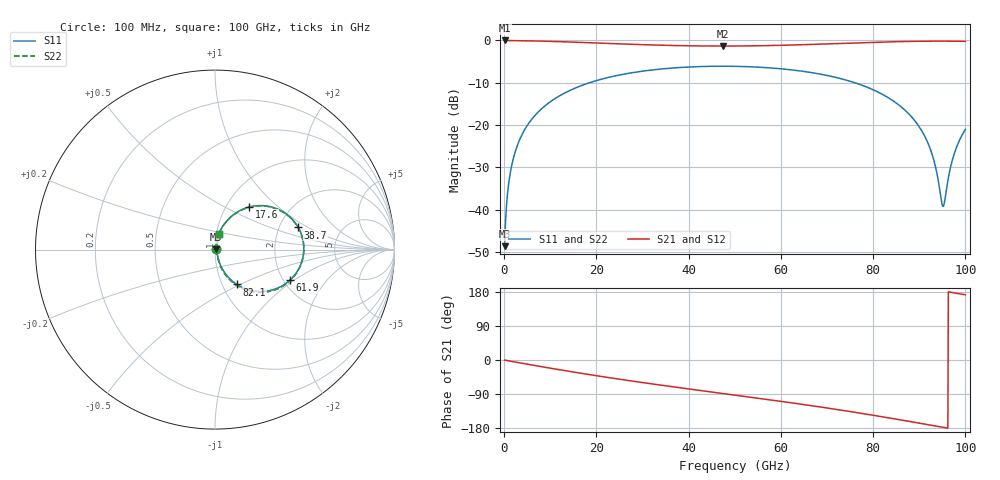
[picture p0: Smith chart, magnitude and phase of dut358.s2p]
! Touchstone file exported from HFSS 2026.1.0
!  File:  C:/ffzhzh/LocalFiles/Ansys_Project_Files/temp_train_RDL_358_1783503356_31944.aedt
!  Generated:  05:37:36 PM Jul  8, 2026
!  Design:  RDL
!  Project:  temp_train_RDL_358_1783503356_31944
! Variables:
!  h_bsmrdl = 2um
!  h_ox = 20um
!  h_rdl = 5um
!  h_sub = 80um
!  h_tmrdl = 3.68um
!  h_tsv = 80um
!  h_via = 3um
!  l_bsmrdl = 300um
!  l_sub = 1032.15um
!  l_tmrdl = 632.15um
!  m_sub = 200um
!  pitch = 43.02um
!  r_tsv = 6um
!  s_tmrdl = 10um
!  w_bsmrdl = 18um
!  w_sub = 500um
!  w_tmrdl = 22.15um
!  x_tsv_center1 = 643.225um
!  x_tsv_center2 = 961.225um
!  x_tsv_center3 = 1615.525um
!  x_tsv_center4 = 1933.525um
!  x_tsv_center5 = 2587.825um
!  x_tsv_center6 = 2905.825um
# GHz S MA R 50.000000
! Terminal data exported
! Port[1] = TM_RDL1_1_T1
! Port[2] = TM_RDL1_1_T2
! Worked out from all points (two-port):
!   1000 points, 100 MHz to 100 GHz, reference 50 ohm
!   highest |S21| = -0.03 dB at 100 MHz (marker M1); lowest = -1.3 dB at 47.4 GHz (marker M2)
!   |S21| within 3 dB of the highest: start of sweep to end of sweep
!   lowest |S11| = -48.6 dB at 100 MHz (marker M3), VSWR 1.01, Z = 50.3 + j0.227 ohm
!   |S11| at or under -10 dB: start of sweep to 18.53 GHz; 76.01 GHz to end of sweep
!   |S22| runs from -48.6 to -6.1 dB; largest |S21 - S12| = 1.9e-14
!   S11 on the Smith chart (normalised r, x): 100 MHz: 1.01, +0.00; 17.6 GHz: 1.28, +0.67; 38.7 GHz: 2.54, +0.82; 61.9 GHz: 2.16, -0.92; 82.1 GHz: 1.17, -0.48; 100 GHz: 1.03, +0.18
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0.1  0.003719 37.4  0.9971 -0.2  0.9971 -0.2  0.003719 37.4
! Gamma 0 0 0 0
! Port Impedance 50 0 50 0
0.9  0.01881 76.5  0.9961 -2.0  0.9961 -2.0  0.01881 76.5
1.5  0.03061 79.2  0.9955 -3.3  0.9955 -3.3  0.03061 79.2
4.1  0.08148 77.2  0.9914 -9.0  0.9914 -9.0  0.08148 77.2
9  0.1711 67.8  0.977 -19.5  0.977 -19.5  0.1711 67.7
16.8  0.2931 52.7  0.9451 -35.3  0.9451 -35.3  0.2931 52.5
17.6  0.304 51.2  0.9415 -36.8  0.9415 -36.8  0.304 51.0
33.4  0.4553 23.5  0.8779 -65.4  0.8779 -65.4  0.4553 23.0
38.7  0.48 14.9  0.8648 -74.2  0.8648 -74.2  0.4801 14.3
47.4  0.4949 1.1  0.8564 -88.3  0.8564 -88.3  0.4951 0.4
50.1  0.4933 -3.2  0.8573 -92.7  0.8573 -92.7  0.4934 -3.9
61.9  0.4506 -22.2  0.8792 -112.3  0.8792 -112.3  0.4508 -23.1
66.7  0.4156 -30.3  0.8953 -120.7  0.8953 -120.7  0.4158 -31.3
82.1  0.229 -58.0  0.9556 -150.1  0.9556 -150.1  0.2291 -59.3
83.4  0.2084 -60.3  0.9598 -152.7  0.9598 -152.7  0.2085 -61.6
88  0.1307 -68.0  0.9719 -162.3  0.9719 -162.3  0.1307 -69.5
91.2  0.07362 -70.9  0.9769 -169.1  0.9769 -169.1  0.07364 -72.7
93.2  0.03777 -66.8  0.9784 -173.4  0.9784 -173.4  0.03769 -69.1
95.1  0.011 -3.5  0.9786 -177.5  0.9786 -177.5  0.01036 -5.7
95.5  0.01261 31.3  0.9785 -178.4  0.9785 -178.4  0.01199 31.1
97.5  0.04439 73.0  0.9772 177.4  0.9772 177.4  0.04415 72.4
100  0.089 75.0  0.9737 172.0  0.9737 172.0  0.08885 74.0
